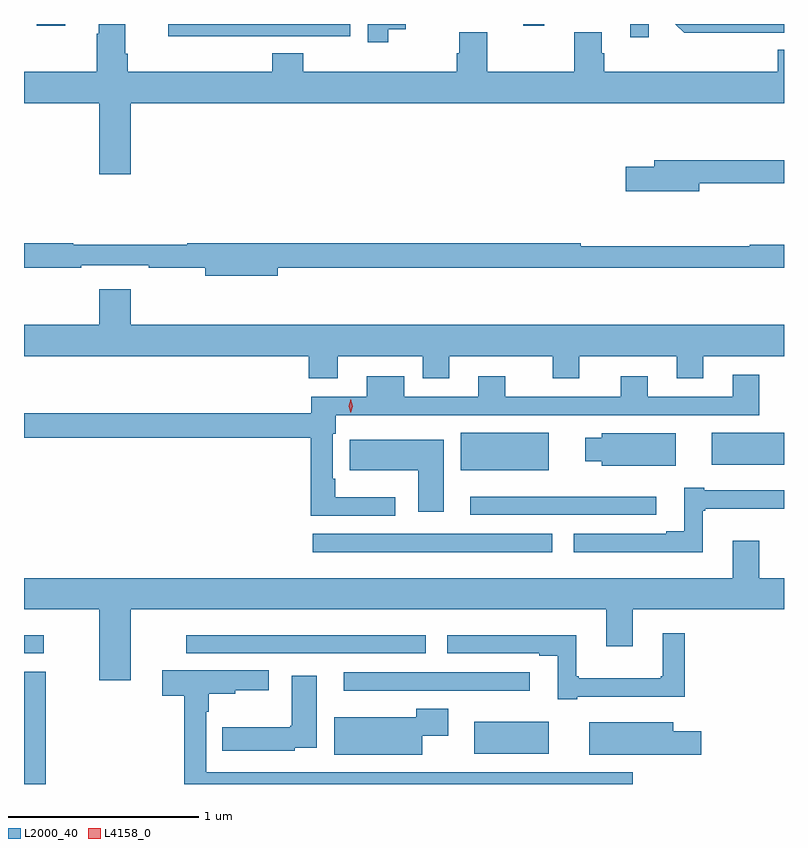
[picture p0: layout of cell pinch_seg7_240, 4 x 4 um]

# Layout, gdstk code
import gdstk
lib = gdstk.Library(unit=1e-6, precision=1e-09)
def R(c, l, rs):  # rectangles x0, y0, x1, y1
    for r in rs: c.add(gdstk.rectangle(r[:2], r[2:], *l))
def P(c, l, *ps):  # polygons
    for p in ps: c.add(gdstk.Polygon(p, *l))
L2000_40 = (2000, 40)
L4158_0 = (4158, 0)

pinch_seg7_240 = lib.new_cell('pinch_seg7_240')
R(pinch_seg7_240, L2000_40, [(823.951,1059.636,824.066,1060.227), (826.322,1059.794,826.714,1059.964), (823.951,1060.323,824.056,1060.42), (824.805,1060.323,826.066,1060.42), (825.471,1060.856,826.732,1060.953), (826.299,1061.052,827.278,1061.149), (826.25,1061.288,826.714,1061.485), (827.57,1061.315,827.951,1061.485), (827.141,1063.566,827.238,1063.636), (824.019,1063.626,824.167,1063.636), (826.579,1063.626,826.69,1063.636)])
P(pinch_seg7_240, L2000_40, [(825.868,1063.609),(825.96,1063.609),(825.96,1063.636),(825.759,1063.636),(825.759,1063.539),(825.868,1063.539)],
  [(825.173,1063.572),(825.669,1063.572),(825.669,1063.636),(824.71,1063.636),(824.71,1063.571),(825.173,1063.571)],
  [(827.834,1063.59),(827.951,1063.59),(827.951,1063.636),(827.379,1063.636),(827.426,1063.589),(827.834,1063.589)],
  [(824.512,1063.22),(827.951,1063.22),(827.951,1063.501),(827.918,1063.501),(827.918,1063.384),(827.006,1063.384),(827.006,1063.482),(826.993,1063.482),(826.993,1063.592),(826.846,1063.592),(826.846,1063.384),(826.389,1063.384),(826.389,1063.592),(826.241,1063.592),(826.241,1063.482),(826.229,1063.482),(826.229,1063.384),(825.422,1063.384),(825.422,1063.483),(825.257,1063.483),(825.257,1063.384),(824.498,1063.384),(824.498,1063.48),(824.485,1063.48),(824.485,1063.636),(824.345,1063.636),(824.345,1063.586),(824.333,1063.586),(824.333,1063.384),(823.951,1063.384),(823.951,1063.22),(824.348,1063.22),(824.348,1062.846),(824.512,1062.846)],
  [(827.506,1062.798),(827.951,1062.798),(827.951,1062.919),(827.267,1062.919),(827.267,1062.885),(827.118,1062.885),(827.118,1062.755),(827.506,1062.755)],
  [(825.286,1062.354),(827.951,1062.354),(827.951,1062.475),(827.77,1062.475),(827.77,1062.467),(826.882,1062.467),(826.882,1062.482),(824.81,1062.482),(824.81,1062.475),(824.21,1062.475),(824.21,1062.482),(823.951,1062.482),(823.951,1062.354),(824.252,1062.354),(824.252,1062.366),(824.608,1062.366),(824.608,1062.354),(824.906,1062.354),(824.906,1062.311),(825.286,1062.311)],
  [(825.601,1061.888),(826.049,1061.888),(826.049,1061.771),(826.189,1061.771),(826.189,1061.888),(826.733,1061.888),(826.733,1061.771),(826.873,1061.771),(826.873,1061.888),(827.387,1061.888),(827.387,1061.771),(827.527,1061.771),(827.527,1061.888),(827.951,1061.888),(827.951,1062.052),(824.512,1062.052),(824.512,1062.241),(824.348,1062.241),(824.348,1062.052),(823.951,1062.052),(823.951,1061.888),(825.449,1061.888),(825.449,1061.771),(825.601,1061.771)],
  [(825.904,1061.146),(825.589,1061.146),(825.589,1061.242),(825.576,1061.242),(825.576,1061.48),(825.591,1061.48),(825.591,1061.577),(827.821,1061.577),(827.821,1061.791),(827.681,1061.791),(827.681,1061.673),(827.233,1061.673),(827.233,1061.782),(827.093,1061.782),(827.093,1061.673),(826.483,1061.673),(826.483,1061.782),(826.343,1061.782),(826.343,1061.673),(825.952,1061.673),(825.952,1061.782),(825.755,1061.782),(825.755,1061.673),(825.464,1061.673),(825.464,1061.587),(823.951,1061.587),(823.951,1061.458),(825.46,1061.458),(825.46,1061.049),(825.904,1061.049)],
  [(827.38,1061.482),(826.992,1061.482),(826.992,1061.458),(826.904,1061.458),(826.904,1061.336),(826.992,1061.336),(826.992,1061.312),(827.38,1061.312)],
  [(826.159,1061.449),(825.769,1061.449),(825.769,1061.448),(825.666,1061.448),(825.666,1061.288),(826.025,1061.288),(826.025,1061.07),(826.159,1061.07)],
  [(827.524,1061.073),(827.536,1061.073),(827.536,1061.084),(827.951,1061.084),(827.951,1061.182),(827.53,1061.182),(827.53,1061.194),(827.426,1061.194),(827.426,1060.966),(827.33,1060.966),(827.33,1060.953),(826.845,1060.953),(826.845,1060.856),(827.524,1060.856)],
  [(824.512,1060.556),(827.015,1060.556),(827.015,1060.362),(827.155,1060.362),(827.155,1060.556),(827.951,1060.556),(827.951,1060.72),(827.821,1060.72),(827.821,1060.915),(827.681,1060.915),(827.681,1060.72),(823.951,1060.72),(823.951,1060.556),(824.348,1060.556),(824.348,1060.182),(824.512,1060.182)],
  [(826.864,1060.094),(827.429,1060.094),(827.429,1060.429),(827.312,1060.429),(827.312,1060.204),(827.301,1060.204),(827.301,1060.192),(826.87,1060.192),(826.87,1060.204),(826.858,1060.204),(826.858,1060.42),(826.179,1060.42),(826.179,1060.323),(826.664,1060.323),(826.664,1060.311),(826.76,1060.311),(826.76,1060.083),(826.864,1060.083)],
  [(827.155,1059.699),(824.91,1059.699),(824.91,1060.016),(824.923,1060.016),(824.923,1060.112),(825.063,1060.112),(825.063,1060.13),(825.238,1060.13),(825.238,1060.234),(824.679,1060.234),(824.679,1060.1),(824.794,1060.1),(824.794,1059.636),(827.155,1059.636)],
  [(825.92,1060.128),(826.326,1060.128),(826.326,1060.127),(826.612,1060.127),(826.612,1060.224),(825.633,1060.224),(825.633,1060.127),(825.92,1060.127)],
  [(825.375,1059.827),(825.493,1059.827),(825.493,1060.207),(825.359,1060.207),(825.359,1059.942),(825.352,1059.942),(825.352,1059.934),(824.995,1059.934),(824.995,1059.812),(825.375,1059.812)],
  [(826.048,1059.891),(826.183,1059.891),(826.183,1060.033),(826.016,1060.033),(826.016,1059.988),(825.584,1059.988),(825.584,1059.791),(826.048,1059.791)],
  [(827.515,1059.913),(827.368,1059.913),(827.368,1059.961),(826.925,1059.961),(826.925,1059.791),(827.515,1059.791)])
P(pinch_seg7_240, L4158_0, [(825.67,1061.59),(825.67,1061.591),(825.66,1061.625),(825.67,1061.66),(825.671,1061.66),(825.671,1061.66),(825.68,1061.625),(825.67,1061.591)])

lib.write_gds('pinch_seg7_240.gds')
